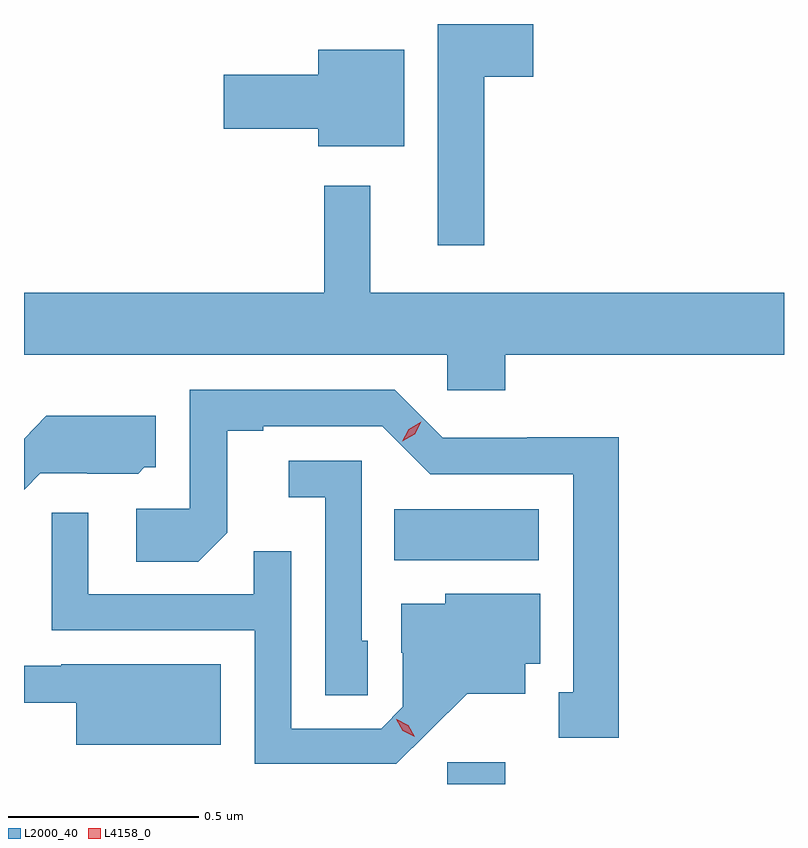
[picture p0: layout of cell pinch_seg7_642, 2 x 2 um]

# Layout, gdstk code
import gdstk
lib = gdstk.Library(unit=1e-6, precision=1e-09)
def R(c, l, rs):  # rectangles x0, y0, x1, y1
    for r in rs: c.add(gdstk.rectangle(r[:2], r[2:], *l))
def P(c, l, *ps):  # polygons
    for p in ps: c.add(gdstk.Polygon(p, *l))
L2000_40 = (2000, 40)
L4158_0 = (4158, 0)

pinch_seg7_642 = lib.new_cell('pinch_seg7_642')
R(pinch_seg7_642, L2000_40, [(169.032,1036.783,169.184,1036.84), (168.892,1037.372,169.273,1037.506)])
P(pinch_seg7_642, L2000_40, [(169.129,1038.644),(169.258,1038.644),(169.258,1038.783),(169.007,1038.783),(169.007,1038.201),(169.129,1038.201)],
  [(168.919,1038.715),(168.692,1038.715),(168.692,1038.65),(168.444,1038.65),(168.444,1038.507),(168.692,1038.507),(168.692,1038.461),(168.919,1038.461)],
  [(169.184,1037.912),(169.918,1037.912),(169.918,1038.076),(168.829,1038.076),(168.829,1038.358),(168.708,1038.358),(168.708,1038.076),(167.918,1038.076),(167.918,1037.912),(169.032,1037.912),(169.032,1037.819),(169.184,1037.819)],
  [(169.483,1037.696),(169.242,1037.696),(169.242,1037.694),(169.02,1037.694),(168.894,1037.82),(168.354,1037.82),(168.354,1037.508),(168.213,1037.508),(168.213,1037.368),(168.377,1037.368),(168.453,1037.444),(168.453,1037.712),(168.547,1037.712),(168.547,1037.724),(168.861,1037.724),(168.987,1037.598),(169.364,1037.598),(169.364,1037.025),(169.325,1037.025),(169.325,1036.905),(169.483,1036.905)],
  [(167.961,1037.601),(168.084,1037.601),(168.084,1037.6),(168.218,1037.6),(168.234,1037.616),(168.265,1037.616),(168.265,1037.752),(167.977,1037.752),(167.918,1037.692),(167.918,1037.558)],
  [(168.822,1037.16),(168.807,1037.16),(168.807,1037.634),(168.615,1037.634),(168.615,1037.537),(168.711,1037.537),(168.711,1037.017),(168.822,1037.017)],
  [(168.982,1036.919),(169.085,1037.021),(169.237,1037.021),(169.237,1037.1),(169.276,1037.1),(169.276,1037.284),(169.026,1037.284),(169.026,1037.257),(168.911,1037.257),(168.911,1037.128),(168.915,1037.128),(168.915,1036.986),(168.858,1036.929),(168.621,1036.929),(168.621,1037.396),(168.523,1037.396),(168.523,1037.283),(168.087,1037.283),(168.087,1037.497),(167.991,1037.497),(167.991,1037.187),(168.525,1037.187),(168.525,1036.836),(168.898,1036.836)],
  [(168.436,1037.098),(168.016,1037.098),(168.016,1037.094),(167.918,1037.094),(167.918,1036.997),(168.056,1036.997),(168.056,1036.886),(168.436,1036.886)])
P(pinch_seg7_642, L4158_0, [(168.914,1037.685),(168.914,1037.685),(168.931,1037.717),(168.963,1037.736),(168.963,1037.736),(168.963,1037.736),(168.946,1037.704),(168.914,1037.685)],
  [(168.946,1036.907),(168.915,1036.923),(168.898,1036.953),(168.898,1036.953),(168.899,1036.953),(168.929,1036.938),(168.946,1036.908),(168.946,1036.907)])

lib.write_gds('pinch_seg7_642.gds')
